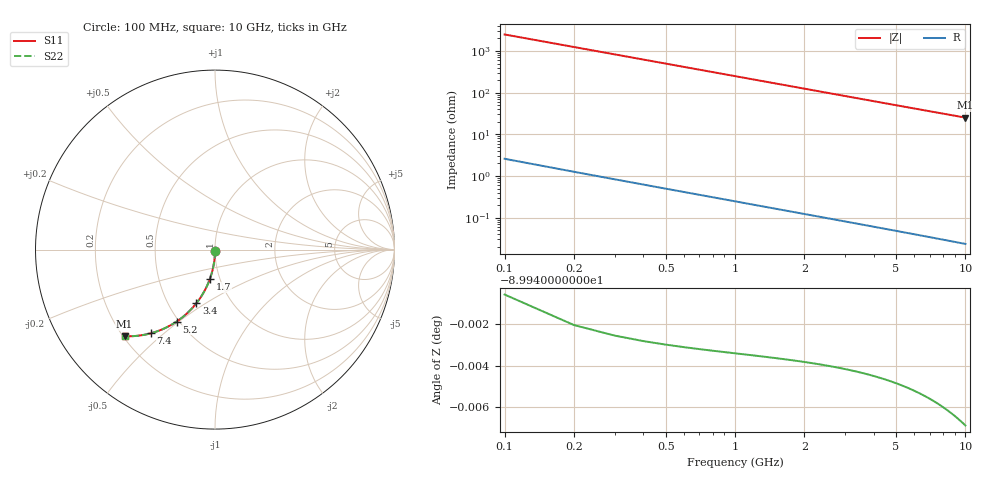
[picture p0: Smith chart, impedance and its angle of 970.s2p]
# Hz S RI R 50.00
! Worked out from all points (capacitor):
!   100 points, 100 MHz to 10 GHz, reference 50 ohm
!   read as one part in shunt: C = 638 fF near 100 MHz
!   lowest |Z| = 25.2 ohm at 10 GHz (marker M1)
!   S11 on the Smith chart (normalised r, x): 100 MHz: 1.00, -0.02; 1.7 GHz: 0.90, -0.30; 3.4 GHz: 0.69, -0.46; 5.2 GHz: 0.49, -0.49; 7.4 GHz: 0.32, -0.45; 10 GHz: 0.21, -0.39
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1e8  -4.75e-05 -0.00985  0.9998 -0.0102  0.9998 -0.0102  -4.75e-05 -0.00985
2e8  -0.000358 -0.0197  0.9995 -0.0204  0.9995 -0.0204  -0.000358 -0.0197
3e8  -0.000868 -0.0295  0.999 -0.0305  0.999 -0.0305  -0.000868 -0.0295
4e8  -0.00158 -0.0393  0.9983 -0.0407  0.9983 -0.0407  -0.00158 -0.0393
5e8  -0.00249 -0.0491  0.9974 -0.0508  0.9974 -0.0508  -0.00249 -0.0491
6e8  -0.00359 -0.0589  0.9963 -0.0609  0.9963 -0.0609  -0.00359 -0.0589
8e8  -0.00639 -0.0783  0.9935 -0.0809  0.9935 -0.0809  -0.00639 -0.0783
1.1e9  -0.012 -0.107  0.9878 -0.1107  0.9878 -0.1107  -0.012 -0.107
1.4e9  -0.0194 -0.1352  0.9805 -0.1399  0.9805 -0.1399  -0.0194 -0.1352
1.7e9  -0.0283 -0.1626  0.9716 -0.1683  0.9716 -0.1683  -0.0283 -0.1626
1.8e9  -0.0316 -0.1716  0.9683 -0.1776  0.9683 -0.1776  -0.0316 -0.1716
2.1e9  -0.0425 -0.1979  0.9573 -0.2049  0.9573 -0.2049  -0.0425 -0.1979
2.5e9  -0.0592 -0.2315  0.9406 -0.2398  0.9406 -0.2398  -0.0592 -0.2315
2.9e9  -0.0781 -0.263  0.9218 -0.2728  0.9218 -0.2728  -0.0781 -0.263
3.4e9  -0.1043 -0.2995  0.8955 -0.3109  0.8955 -0.3109  -0.1043 -0.2995
4.2e9  -0.1509 -0.3505  0.8489 -0.3646  0.8489 -0.3646  -0.1509 -0.3505
5.1e9  -0.2078 -0.3967  0.7919 -0.4139  0.7919 -0.4139  -0.2078 -0.3967
5.2e9  -0.2143 -0.4011  0.7854 -0.4187  0.7854 -0.4187  -0.2143 -0.4011
6.7e9  -0.3121 -0.4516  0.6875 -0.4743  0.6875 -0.4743  -0.3121 -0.4516
7.4e9  -0.3565 -0.466  0.6431 -0.4911  0.6431 -0.4911  -0.3565 -0.466
8.4e9  -0.4169 -0.4783  0.5825 -0.5069  0.5825 -0.5069  -0.4169 -0.4783
1e10  -0.5041 -0.4824  0.4951 -0.5166  0.4951 -0.5166  -0.5041 -0.4824
